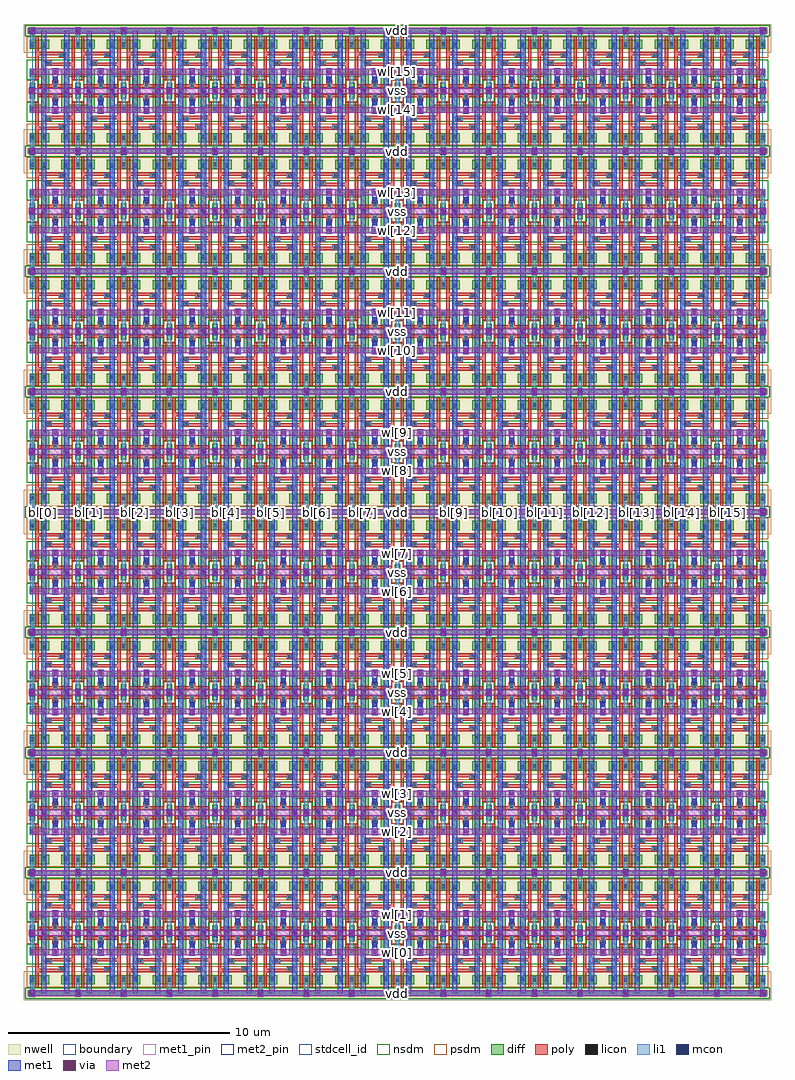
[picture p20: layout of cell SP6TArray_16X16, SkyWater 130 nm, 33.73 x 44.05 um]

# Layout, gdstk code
import gdstk
lib = gdstk.Library(unit=1e-6, precision=1e-09)
def R(c, l, rs):  # rectangles x0, y0, x1, y1
    for r in rs: c.add(gdstk.rectangle(r[:2], r[2:], *l))
def A(c, l, x, y, w, h, nx, ny, dx, dy):  # array of equal rectangles
    R(c, l, [(x+i*dx, y+j*dy, x+i*dx+w, y+j*dy+h) for i in range(nx) for j in range(ny)])
def P(c, l, *ps):  # polygons
    for p in ps: c.add(gdstk.Polygon(p, *l))
nwell = (64, 20)
diff = (65, 20)
poly = (66, 20)
licon = (66, 44)
li1 = (67, 20)
mcon = (67, 44)
met1_pin = (68, 16)
met1 = (68, 20)
via = (68, 44)
met2_pin = (69, 16)
met2 = (69, 20)
stdcell_id = (81, 4)
nsdm = (93, 44)
psdm = (94, 20)
boundary = (235, 4)

sp6tcell = lib.new_cell('SP6TCell')
R(sp6tcell, nwell, [(-0.385,1.72,2.445,3.02)])
R(sp6tcell, diff, [(-0.125,-0.36,0.125,0.36), (1.935,-0.36,2.185,0.36), (-0.125,1.9,0.755,2.32), (1.305,1.9,2.185,2.32), (-0.205,2.59,2.265,2.84)])
P(sp6tcell, diff, [(1.305,-0.125),(1.305,0.99),(2.185,0.99),(2.185,0.63),(1.665,0.63),(1.665,-0.125)],
  [(0.395,-0.125),(0.395,0.63),(-0.125,0.63),(-0.125,0.99),(0.755,0.99),(0.755,-0.125)])
P(sp6tcell, poly, [(1.77,0.5),(1.77,1.13),(0.55,1.13),(0.55,1.4),(0.88,1.4),(0.88,1.28),(1.77,1.28),(1.77,2.45),(1.92,2.45),(1.92,0.5)],
  [(0.14,0.5),(0.14,2.45),(0.29,2.45),(0.29,1.76),(1.51,1.76),(1.51,1.49),(1.18,1.49),(1.18,1.61),(0.29,1.61),(0.29,0.5)],
  [(0.265,0.14),(0.265,0.29),(0.895,0.29),(0.895,0.47),(1.165,0.47),(1.165,0.29),(1.795,0.29),(1.795,0.14)])
R(sp6tcell, licon, [(-0.085,-0.085,0.085,0.085), (0.49,-0.085,0.66,0.085), (1.4,-0.085,1.57,0.085), (1.975,-0.085,2.145,0.085), (0.945,0.22,1.115,0.39), (-0.085,0.725,0.085,0.895), (1.975,0.725,2.145,0.895), (0.465,0.78,0.635,0.95), (1.425,0.78,1.595,0.95), (0.63,1.18,0.8,1.35), (1.26,1.54,1.43,1.71), (0.465,1.97,0.635,2.14), (1.425,1.97,1.595,2.14), (-0.085,2.025,0.085,2.195), (1.975,2.025,2.145,2.195), (-0.085,2.63,0.085,2.8), (1.975,2.63,2.145,2.8)])
R(sp6tcell, li1, [(-0.085,-0.165,0.085,0.975), (1.975,-0.165,2.145,0.975), (0.945,0.14,1.115,0.64)])
P(sp6tcell, li1, [(0.465,0.7),(0.465,2.22),(0.635,2.22),(0.635,1.35),(0.88,1.35),(0.88,1.18),(0.635,1.18),(0.635,0.7)],
  [(1.425,0.7),(1.425,1.54),(1.18,1.54),(1.18,1.71),(1.425,1.71),(1.425,2.22),(1.595,2.22),(1.595,0.7)],
  [(-0.085,1.945),(-0.085,2.63),(-0.165,2.63),(-0.165,2.8),(2.225,2.8),(2.225,2.63),(2.145,2.63),(2.145,1.945),(1.975,1.945),(1.975,2.63),(0.085,2.63),(0.085,1.945)],
  [(0.49,-0.165),(0.49,-0.085),(0.43,-0.085),(0.43,0.085),(0.49,0.085),(0.49,0.165),(0.66,0.165),(0.66,-0.165)],
  [(1.4,-0.165),(1.4,0.165),(1.57,0.165),(1.57,0.085),(1.63,0.085),(1.63,-0.085),(1.57,-0.085),(1.57,-0.165)])
R(sp6tcell, mcon, [(-0.085,-0.085,0.085,0.085), (0.43,-0.085,0.6,0.085), (1.46,-0.085,1.63,0.085), (1.975,-0.085,2.145,0.085), (0.945,0.47,1.115,0.64), (-0.085,2.63,0.085,2.8), (1.975,2.63,2.145,2.8)])
R(sp6tcell, met1_pin, [(0.4,-0.145,0.63,2.715), (1.43,-0.145,1.66,2.715)])
R(sp6tcell, met1, [(-0.13,-0.16,0.13,0.16), (1.93,-0.16,2.19,0.16), (0.4,-0.145,0.63,2.715), (1.43,-0.145,1.66,2.715), (-0.13,2.555,0.13,2.875), (1.93,2.555,2.19,2.875)])
P(sp6tcell, met1, [(0.915,0.41),(0.915,0.7),(0.9,0.7),(0.9,1.02),(1.16,1.02),(1.16,0.7),(1.145,0.7),(1.145,0.41)])
R(sp6tcell, via, [(-0.075,-0.075,0.075,0.075), (1.985,-0.075,2.135,0.075), (0.955,0.785,1.105,0.935), (-0.075,2.64,0.075,2.79), (1.985,2.64,2.135,2.79)])
R(sp6tcell, met2_pin, [(-0.16,-0.13,2.22,0.13), (0,0.73,2.06,0.99), (-0.16,2.585,2.22,2.845)])
R(sp6tcell, met2, [(-0.16,-0.13,2.22,0.13), (0,0.73,2.06,0.99), (-0.16,2.585,2.22,2.845)])
R(sp6tcell, stdcell_id, [(0.39,0.135,0.76,0.295), (1.3,0.135,1.67,0.295), (0.135,0.625,0.295,0.995), (1.765,0.625,1.925,0.995)])
R(sp6tcell, nsdm, [(-0.33,2.465,2.39,2.965)])
P(sp6tcell, nsdm, [(0.27,-0.25),(0.27,0.505),(-0.25,0.505),(-0.25,1.4),(2.31,1.4),(2.31,0.505),(1.79,0.505),(1.79,-0.25)])
R(sp6tcell, psdm, [(-0.25,-0.485,0.25,0.485), (1.81,-0.485,2.31,0.485), (-0.25,1.49,2.31,2.445)])
R(sp6tcell, boundary, [(0,0,2.06,2.715)])
sp6tcell.add(gdstk.Label('vss', (1.03,0), layer=69, texttype=16))
sp6tcell.add(gdstk.Label('vdd', (1.03,2.715), layer=69, texttype=16))
sp6tcell.add(gdstk.Label('wl', (1.03,0.86), layer=69, texttype=16))
sp6tcell.add(gdstk.Label('bl', (0.515,1.285), layer=68, texttype=16))
sp6tcell.add(gdstk.Label('bl_n', (1.545,1.285), layer=68, texttype=16))

sp6tarray_2x1 = lib.new_cell('SP6TArray_2X1')
R(sp6tarray_2x1, met1_pin, [(0.4,0,0.63,5.43), (1.43,0,1.66,5.43)])
R(sp6tarray_2x1, met1, [(0.4,0,0.63,5.43), (1.43,0,1.66,5.43)])
A(sp6tarray_2x1, met2_pin, 0, 1.725, 2.06, 0.26, 1, 3, 0, 0.86)
R(sp6tarray_2x1, met2_pin, [(0,-0.13,2.06,0.13), (0,5.3,2.06,5.56)])
A(sp6tarray_2x1, met2, 0, 1.725, 2.06, 0.26, 1, 3, 0, 0.86)
R(sp6tarray_2x1, met2, [(0,-0.13,2.06,0.13), (0,5.3,2.06,5.56)])
R(sp6tarray_2x1, boundary, [(0,0,2.06,5.43)])
sp6tarray_2x1.add(gdstk.Reference(sp6tcell, (0,2.715), x_reflection=True))
sp6tarray_2x1.add(gdstk.Reference(sp6tcell, (0,2.715)))
sp6tarray_2x1.add(gdstk.Label('vss', (1.03,2.715), layer=69, texttype=16))
sp6tarray_2x1.add(gdstk.Label('vdd', (1.03,0), layer=69, texttype=16))
sp6tarray_2x1.add(gdstk.Label('vdd', (1.03,5.43), layer=69, texttype=16))
sp6tarray_2x1.add(gdstk.Label('wl[0]', (1.03,1.855), layer=69, texttype=16))
sp6tarray_2x1.add(gdstk.Label('wl[1]', (1.03,3.575), layer=69, texttype=16))
sp6tarray_2x1.add(gdstk.Label('bl[0]', (0.515,2.715), layer=68, texttype=16))
sp6tarray_2x1.add(gdstk.Label('bl_n[0]', (1.545,2.715), layer=68, texttype=16))

sp6tarray_2x2 = lib.new_cell('SP6TArray_2X2')
A(sp6tarray_2x2, met1_pin, 0.4, 0, 0.23, 5.43, 4, 1, 1.03, 0)
A(sp6tarray_2x2, met1, 0.4, 0, 0.23, 5.43, 4, 1, 1.03, 0)
A(sp6tarray_2x2, met2_pin, 0, 1.725, 4.12, 0.26, 1, 3, 0, 0.86)
R(sp6tarray_2x2, met2_pin, [(0,-0.13,4.12,0.13), (0,5.3,4.12,5.56)])
A(sp6tarray_2x2, met2, 0, 1.725, 4.12, 0.26, 1, 3, 0, 0.86)
R(sp6tarray_2x2, met2, [(0,-0.13,4.12,0.13), (0,5.3,4.12,5.56)])
R(sp6tarray_2x2, boundary, [(0,0,4.12,5.43)])
sp6tarray_2x2.add(gdstk.Reference(sp6tarray_2x1, (0,0)))
sp6tarray_2x2.add(gdstk.Reference(sp6tarray_2x1, (2.06,0)))
sp6tarray_2x2.add(gdstk.Label('vss', (2.06,2.715), layer=69, texttype=16))
sp6tarray_2x2.add(gdstk.Label('vdd', (2.06,5.43), layer=69, texttype=16))
sp6tarray_2x2.add(gdstk.Label('vdd', (2.06,0), layer=69, texttype=16))
sp6tarray_2x2.add(gdstk.Label('wl[0]', (2.06,1.855), layer=69, texttype=16))
sp6tarray_2x2.add(gdstk.Label('wl[1]', (2.06,3.575), layer=69, texttype=16))
sp6tarray_2x2.add(gdstk.Label('bl[0]', (0.515,2.715), layer=68, texttype=16))
sp6tarray_2x2.add(gdstk.Label('bl_n[0]', (1.545,2.715), layer=68, texttype=16))
sp6tarray_2x2.add(gdstk.Label('bl[1]', (2.575,2.715), layer=68, texttype=16))
sp6tarray_2x2.add(gdstk.Label('bl_n[1]', (3.605,2.715), layer=68, texttype=16))

sp6tarray_4x2 = lib.new_cell('SP6TArray_4X2')
A(sp6tarray_4x2, met1_pin, 0.4, 0, 0.23, 10.86, 4, 1, 1.03, 0)
A(sp6tarray_4x2, met1, 0.4, 0, 0.23, 10.86, 4, 1, 1.03, 0)
A(sp6tarray_4x2, met2_pin, 0, 1.725, 4.12, 0.26, 1, 3, 0, 0.86)
A(sp6tarray_4x2, met2_pin, 0, 7.155, 4.12, 0.26, 1, 3, 0, 0.86)
R(sp6tarray_4x2, met2_pin, [(0,-0.13,4.12,0.13), (0,5.3,4.12,5.56), (0,10.73,4.12,10.99)])
A(sp6tarray_4x2, met2, 0, 1.725, 4.12, 0.26, 1, 3, 0, 0.86)
A(sp6tarray_4x2, met2, 0, 7.155, 4.12, 0.26, 1, 3, 0, 0.86)
R(sp6tarray_4x2, met2, [(0,-0.13,4.12,0.13), (0,5.3,4.12,5.56), (0,10.73,4.12,10.99)])
R(sp6tarray_4x2, boundary, [(0,0,4.12,10.86)])
sp6tarray_4x2.add(gdstk.Reference(sp6tarray_2x2, (0,0)))
sp6tarray_4x2.add(gdstk.Reference(sp6tarray_2x2, (0,5.43)))
sp6tarray_4x2.add(gdstk.Label('vss', (2.06,8.145), layer=69, texttype=16))
sp6tarray_4x2.add(gdstk.Label('vss', (2.06,2.715), layer=69, texttype=16))
sp6tarray_4x2.add(gdstk.Label('vdd', (2.06,5.43), layer=69, texttype=16))
sp6tarray_4x2.add(gdstk.Label('vdd', (2.06,10.86), layer=69, texttype=16))
sp6tarray_4x2.add(gdstk.Label('vdd', (2.06,0), layer=69, texttype=16))
sp6tarray_4x2.add(gdstk.Label('wl[0]', (2.06,1.855), layer=69, texttype=16))
sp6tarray_4x2.add(gdstk.Label('wl[1]', (2.06,3.575), layer=69, texttype=16))
sp6tarray_4x2.add(gdstk.Label('wl[2]', (2.06,7.285), layer=69, texttype=16))
sp6tarray_4x2.add(gdstk.Label('wl[3]', (2.06,9.005), layer=69, texttype=16))
sp6tarray_4x2.add(gdstk.Label('bl[0]', (0.515,5.43), layer=68, texttype=16))
sp6tarray_4x2.add(gdstk.Label('bl_n[0]', (1.545,5.43), layer=68, texttype=16))
sp6tarray_4x2.add(gdstk.Label('bl[1]', (2.575,5.43), layer=68, texttype=16))
sp6tarray_4x2.add(gdstk.Label('bl_n[1]', (3.605,5.43), layer=68, texttype=16))

sp6tarray_4x4 = lib.new_cell('SP6TArray_4X4')
A(sp6tarray_4x4, met1_pin, 0.4, 0, 0.23, 10.86, 8, 1, 1.03, 0)
A(sp6tarray_4x4, met1, 0.4, 0, 0.23, 10.86, 8, 1, 1.03, 0)
A(sp6tarray_4x4, met2_pin, 0, 1.725, 8.24, 0.26, 1, 3, 0, 0.86)
A(sp6tarray_4x4, met2_pin, 0, 7.155, 8.24, 0.26, 1, 3, 0, 0.86)
R(sp6tarray_4x4, met2_pin, [(0,-0.13,8.24,0.13), (0,5.3,8.24,5.56), (0,10.73,8.24,10.99)])
A(sp6tarray_4x4, met2, 0, 1.725, 8.24, 0.26, 1, 3, 0, 0.86)
A(sp6tarray_4x4, met2, 0, 7.155, 8.24, 0.26, 1, 3, 0, 0.86)
R(sp6tarray_4x4, met2, [(0,-0.13,8.24,0.13), (0,5.3,8.24,5.56), (0,10.73,8.24,10.99)])
R(sp6tarray_4x4, boundary, [(0,0,8.24,10.86)])
sp6tarray_4x4.add(gdstk.Reference(sp6tarray_4x2, (0,0)))
sp6tarray_4x4.add(gdstk.Reference(sp6tarray_4x2, (4.12,0)))
sp6tarray_4x4.add(gdstk.Label('vss', (4.12,8.145), layer=69, texttype=16))
sp6tarray_4x4.add(gdstk.Label('vss', (4.12,2.715), layer=69, texttype=16))
sp6tarray_4x4.add(gdstk.Label('vdd', (4.12,0), layer=69, texttype=16))
sp6tarray_4x4.add(gdstk.Label('vdd', (4.12,10.86), layer=69, texttype=16))
sp6tarray_4x4.add(gdstk.Label('vdd', (4.12,5.43), layer=69, texttype=16))
sp6tarray_4x4.add(gdstk.Label('wl[0]', (4.12,1.855), layer=69, texttype=16))
sp6tarray_4x4.add(gdstk.Label('wl[1]', (4.12,3.575), layer=69, texttype=16))
sp6tarray_4x4.add(gdstk.Label('wl[2]', (4.12,7.285), layer=69, texttype=16))
sp6tarray_4x4.add(gdstk.Label('wl[3]', (4.12,9.005), layer=69, texttype=16))
sp6tarray_4x4.add(gdstk.Label('bl[0]', (0.515,5.43), layer=68, texttype=16))
sp6tarray_4x4.add(gdstk.Label('bl_n[0]', (1.545,5.43), layer=68, texttype=16))
sp6tarray_4x4.add(gdstk.Label('bl[1]', (2.575,5.43), layer=68, texttype=16))
sp6tarray_4x4.add(gdstk.Label('bl_n[1]', (3.605,5.43), layer=68, texttype=16))
sp6tarray_4x4.add(gdstk.Label('bl[2]', (4.635,5.43), layer=68, texttype=16))
sp6tarray_4x4.add(gdstk.Label('bl_n[2]', (5.665,5.43), layer=68, texttype=16))
sp6tarray_4x4.add(gdstk.Label('bl[3]', (6.695,5.43), layer=68, texttype=16))
sp6tarray_4x4.add(gdstk.Label('bl_n[3]', (7.725,5.43), layer=68, texttype=16))

sp6tarray_8x4 = lib.new_cell('SP6TArray_8X4')
A(sp6tarray_8x4, met1_pin, 0.4, 0, 0.23, 21.72, 8, 1, 1.03, 0)
A(sp6tarray_8x4, met1, 0.4, 0, 0.23, 21.72, 8, 1, 1.03, 0)
A(sp6tarray_8x4, met2_pin, 0, 1.725, 8.24, 0.26, 1, 3, 0, 0.86)
A(sp6tarray_8x4, met2_pin, 0, 7.155, 8.24, 0.26, 1, 3, 0, 0.86)
A(sp6tarray_8x4, met2_pin, 0, 12.585, 8.24, 0.26, 1, 3, 0, 0.86)
A(sp6tarray_8x4, met2_pin, 0, 18.015, 8.24, 0.26, 1, 3, 0, 0.86)
R(sp6tarray_8x4, met2_pin, [(0,-0.13,8.24,0.13), (0,5.3,8.24,5.56), (0,10.73,8.24,10.99), (0,16.16,8.24,16.42), (0,21.59,8.24,21.85)])
A(sp6tarray_8x4, met2, 0, 1.725, 8.24, 0.26, 1, 3, 0, 0.86)
A(sp6tarray_8x4, met2, 0, 7.155, 8.24, 0.26, 1, 3, 0, 0.86)
A(sp6tarray_8x4, met2, 0, 12.585, 8.24, 0.26, 1, 3, 0, 0.86)
A(sp6tarray_8x4, met2, 0, 18.015, 8.24, 0.26, 1, 3, 0, 0.86)
R(sp6tarray_8x4, met2, [(0,-0.13,8.24,0.13), (0,5.3,8.24,5.56), (0,10.73,8.24,10.99), (0,16.16,8.24,16.42), (0,21.59,8.24,21.85)])
R(sp6tarray_8x4, boundary, [(0,0,8.24,21.72)])
sp6tarray_8x4.add(gdstk.Reference(sp6tarray_4x4, (0,0)))
sp6tarray_8x4.add(gdstk.Reference(sp6tarray_4x4, (0,10.86)))
sp6tarray_8x4.add(gdstk.Label('vss', (4.12,8.145), layer=69, texttype=16))
sp6tarray_8x4.add(gdstk.Label('vss', (4.12,19.005), layer=69, texttype=16))
sp6tarray_8x4.add(gdstk.Label('vss', (4.12,2.715), layer=69, texttype=16))
sp6tarray_8x4.add(gdstk.Label('vss', (4.12,13.575), layer=69, texttype=16))
sp6tarray_8x4.add(gdstk.Label('vdd', (4.12,21.72), layer=69, texttype=16))
sp6tarray_8x4.add(gdstk.Label('vdd', (4.12,5.43), layer=69, texttype=16))
sp6tarray_8x4.add(gdstk.Label('vdd', (4.12,0), layer=69, texttype=16))
sp6tarray_8x4.add(gdstk.Label('vdd', (4.12,10.86), layer=69, texttype=16))
sp6tarray_8x4.add(gdstk.Label('vdd', (4.12,16.29), layer=69, texttype=16))
sp6tarray_8x4.add(gdstk.Label('wl[0]', (4.12,1.855), layer=69, texttype=16))
sp6tarray_8x4.add(gdstk.Label('wl[1]', (4.12,3.575), layer=69, texttype=16))
sp6tarray_8x4.add(gdstk.Label('wl[2]', (4.12,7.285), layer=69, texttype=16))
sp6tarray_8x4.add(gdstk.Label('wl[3]', (4.12,9.005), layer=69, texttype=16))
sp6tarray_8x4.add(gdstk.Label('wl[4]', (4.12,12.715), layer=69, texttype=16))
sp6tarray_8x4.add(gdstk.Label('wl[5]', (4.12,14.435), layer=69, texttype=16))
sp6tarray_8x4.add(gdstk.Label('wl[6]', (4.12,18.145), layer=69, texttype=16))
sp6tarray_8x4.add(gdstk.Label('wl[7]', (4.12,19.865), layer=69, texttype=16))
sp6tarray_8x4.add(gdstk.Label('bl[0]', (0.515,10.86), layer=68, texttype=16))
sp6tarray_8x4.add(gdstk.Label('bl_n[0]', (1.545,10.86), layer=68, texttype=16))
sp6tarray_8x4.add(gdstk.Label('bl[1]', (2.575,10.86), layer=68, texttype=16))
sp6tarray_8x4.add(gdstk.Label('bl_n[1]', (3.605,10.86), layer=68, texttype=16))
sp6tarray_8x4.add(gdstk.Label('bl[2]', (4.635,10.86), layer=68, texttype=16))
sp6tarray_8x4.add(gdstk.Label('bl_n[2]', (5.665,10.86), layer=68, texttype=16))
sp6tarray_8x4.add(gdstk.Label('bl[3]', (6.695,10.86), layer=68, texttype=16))
sp6tarray_8x4.add(gdstk.Label('bl_n[3]', (7.725,10.86), layer=68, texttype=16))

sp6tarray_8x8 = lib.new_cell('SP6TArray_8X8')
A(sp6tarray_8x8, met1_pin, 0.4, 0, 0.23, 21.72, 16, 1, 1.03, 0)
A(sp6tarray_8x8, met1, 0.4, 0, 0.23, 21.72, 16, 1, 1.03, 0)
A(sp6tarray_8x8, met2_pin, 0, 1.725, 16.48, 0.26, 1, 3, 0, 0.86)
A(sp6tarray_8x8, met2_pin, 0, 7.155, 16.48, 0.26, 1, 3, 0, 0.86)
A(sp6tarray_8x8, met2_pin, 0, 12.585, 16.48, 0.26, 1, 3, 0, 0.86)
A(sp6tarray_8x8, met2_pin, 0, 18.015, 16.48, 0.26, 1, 3, 0, 0.86)
R(sp6tarray_8x8, met2_pin, [(0,-0.13,16.48,0.13), (0,5.3,16.48,5.56), (0,10.73,16.48,10.99), (0,16.16,16.48,16.42), (0,21.59,16.48,21.85)])
A(sp6tarray_8x8, met2, 0, 1.725, 16.48, 0.26, 1, 3, 0, 0.86)
A(sp6tarray_8x8, met2, 0, 7.155, 16.48, 0.26, 1, 3, 0, 0.86)
A(sp6tarray_8x8, met2, 0, 12.585, 16.48, 0.26, 1, 3, 0, 0.86)
A(sp6tarray_8x8, met2, 0, 18.015, 16.48, 0.26, 1, 3, 0, 0.86)
R(sp6tarray_8x8, met2, [(0,-0.13,16.48,0.13), (0,5.3,16.48,5.56), (0,10.73,16.48,10.99), (0,16.16,16.48,16.42), (0,21.59,16.48,21.85)])
R(sp6tarray_8x8, boundary, [(0,0,16.48,21.72)])
sp6tarray_8x8.add(gdstk.Reference(sp6tarray_8x4, (0,0)))
sp6tarray_8x8.add(gdstk.Reference(sp6tarray_8x4, (8.24,0)))
sp6tarray_8x8.add(gdstk.Label('vss', (8.24,19.005), layer=69, texttype=16))
sp6tarray_8x8.add(gdstk.Label('vss', (8.24,2.715), layer=69, texttype=16))
sp6tarray_8x8.add(gdstk.Label('vss', (8.24,8.145), layer=69, texttype=16))
sp6tarray_8x8.add(gdstk.Label('vss', (8.24,13.575), layer=69, texttype=16))
sp6tarray_8x8.add(gdstk.Label('vdd', (8.24,16.29), layer=69, texttype=16))
sp6tarray_8x8.add(gdstk.Label('vdd', (8.24,0), layer=69, texttype=16))
sp6tarray_8x8.add(gdstk.Label('vdd', (8.24,21.72), layer=69, texttype=16))
sp6tarray_8x8.add(gdstk.Label('vdd', (8.24,5.43), layer=69, texttype=16))
sp6tarray_8x8.add(gdstk.Label('vdd', (8.24,10.86), layer=69, texttype=16))
sp6tarray_8x8.add(gdstk.Label('wl[0]', (8.24,1.855), layer=69, texttype=16))
sp6tarray_8x8.add(gdstk.Label('wl[1]', (8.24,3.575), layer=69, texttype=16))
sp6tarray_8x8.add(gdstk.Label('wl[2]', (8.24,7.285), layer=69, texttype=16))
sp6tarray_8x8.add(gdstk.Label('wl[3]', (8.24,9.005), layer=69, texttype=16))
sp6tarray_8x8.add(gdstk.Label('wl[4]', (8.24,12.715), layer=69, texttype=16))
sp6tarray_8x8.add(gdstk.Label('wl[5]', (8.24,14.435), layer=69, texttype=16))
sp6tarray_8x8.add(gdstk.Label('wl[6]', (8.24,18.145), layer=69, texttype=16))
sp6tarray_8x8.add(gdstk.Label('wl[7]', (8.24,19.865), layer=69, texttype=16))
sp6tarray_8x8.add(gdstk.Label('bl[0]', (0.515,10.86), layer=68, texttype=16))
sp6tarray_8x8.add(gdstk.Label('bl_n[0]', (1.545,10.86), layer=68, texttype=16))
sp6tarray_8x8.add(gdstk.Label('bl[1]', (2.575,10.86), layer=68, texttype=16))
sp6tarray_8x8.add(gdstk.Label('bl_n[1]', (3.605,10.86), layer=68, texttype=16))
sp6tarray_8x8.add(gdstk.Label('bl[2]', (4.635,10.86), layer=68, texttype=16))
sp6tarray_8x8.add(gdstk.Label('bl_n[2]', (5.665,10.86), layer=68, texttype=16))
sp6tarray_8x8.add(gdstk.Label('bl[3]', (6.695,10.86), layer=68, texttype=16))
sp6tarray_8x8.add(gdstk.Label('bl_n[3]', (7.725,10.86), layer=68, texttype=16))
sp6tarray_8x8.add(gdstk.Label('bl[4]', (8.755,10.86), layer=68, texttype=16))
sp6tarray_8x8.add(gdstk.Label('bl_n[4]', (9.785,10.86), layer=68, texttype=16))
sp6tarray_8x8.add(gdstk.Label('bl[5]', (10.815,10.86), layer=68, texttype=16))
sp6tarray_8x8.add(gdstk.Label('bl_n[5]', (11.845,10.86), layer=68, texttype=16))
sp6tarray_8x8.add(gdstk.Label('bl[6]', (12.875,10.86), layer=68, texttype=16))
sp6tarray_8x8.add(gdstk.Label('bl_n[6]', (13.905,10.86), layer=68, texttype=16))
sp6tarray_8x8.add(gdstk.Label('bl[7]', (14.935,10.86), layer=68, texttype=16))
sp6tarray_8x8.add(gdstk.Label('bl_n[7]', (15.965,10.86), layer=68, texttype=16))

sp6tarray_16x8 = lib.new_cell('SP6TArray_16X8')
A(sp6tarray_16x8, met1_pin, 0.4, 0, 0.23, 43.44, 16, 1, 1.03, 0)
A(sp6tarray_16x8, met1, 0.4, 0, 0.23, 43.44, 16, 1, 1.03, 0)
A(sp6tarray_16x8, met2_pin, 0, 1.725, 16.48, 0.26, 1, 3, 0, 0.86)
A(sp6tarray_16x8, met2_pin, 0, 7.155, 16.48, 0.26, 1, 3, 0, 0.86)
A(sp6tarray_16x8, met2_pin, 0, 12.585, 16.48, 0.26, 1, 3, 0, 0.86)
A(sp6tarray_16x8, met2_pin, 0, 18.015, 16.48, 0.26, 1, 3, 0, 0.86)
A(sp6tarray_16x8, met2_pin, 0, 23.445, 16.48, 0.26, 1, 3, 0, 0.86)
A(sp6tarray_16x8, met2_pin, 0, 28.875, 16.48, 0.26, 1, 3, 0, 0.86)
A(sp6tarray_16x8, met2_pin, 0, 34.305, 16.48, 0.26, 1, 3, 0, 0.86)
A(sp6tarray_16x8, met2_pin, 0, 39.735, 16.48, 0.26, 1, 3, 0, 0.86)
R(sp6tarray_16x8, met2_pin, [(0,-0.13,16.48,0.13), (0,5.3,16.48,5.56), (0,10.73,16.48,10.99), (0,16.16,16.48,16.42), (0,21.59,16.48,21.85), (0,27.02,16.48,27.28), (0,32.45,16.48,32.71), (0,37.88,16.48,38.14), (0,43.31,16.48,43.57)])
A(sp6tarray_16x8, met2, 0, 1.725, 16.48, 0.26, 1, 3, 0, 0.86)
A(sp6tarray_16x8, met2, 0, 7.155, 16.48, 0.26, 1, 3, 0, 0.86)
A(sp6tarray_16x8, met2, 0, 12.585, 16.48, 0.26, 1, 3, 0, 0.86)
A(sp6tarray_16x8, met2, 0, 18.015, 16.48, 0.26, 1, 3, 0, 0.86)
A(sp6tarray_16x8, met2, 0, 23.445, 16.48, 0.26, 1, 3, 0, 0.86)
A(sp6tarray_16x8, met2, 0, 28.875, 16.48, 0.26, 1, 3, 0, 0.86)
A(sp6tarray_16x8, met2, 0, 34.305, 16.48, 0.26, 1, 3, 0, 0.86)
A(sp6tarray_16x8, met2, 0, 39.735, 16.48, 0.26, 1, 3, 0, 0.86)
R(sp6tarray_16x8, met2, [(0,-0.13,16.48,0.13), (0,5.3,16.48,5.56), (0,10.73,16.48,10.99), (0,16.16,16.48,16.42), (0,21.59,16.48,21.85), (0,27.02,16.48,27.28), (0,32.45,16.48,32.71), (0,37.88,16.48,38.14), (0,43.31,16.48,43.57)])
R(sp6tarray_16x8, boundary, [(0,0,16.48,43.44)])
sp6tarray_16x8.add(gdstk.Reference(sp6tarray_8x8, (0,0)))
sp6tarray_16x8.add(gdstk.Reference(sp6tarray_8x8, (0,21.72)))
sp6tarray_16x8.add(gdstk.Label('vss', (8.24,19.005), layer=69, texttype=16))
sp6tarray_16x8.add(gdstk.Label('vss', (8.24,8.145), layer=69, texttype=16))
sp6tarray_16x8.add(gdstk.Label('vss', (8.24,24.435), layer=69, texttype=16))
sp6tarray_16x8.add(gdstk.Label('vss', (8.24,40.725), layer=69, texttype=16))
sp6tarray_16x8.add(gdstk.Label('vss', (8.24,2.715), layer=69, texttype=16))
sp6tarray_16x8.add(gdstk.Label('vss', (8.24,13.575), layer=69, texttype=16))
sp6tarray_16x8.add(gdstk.Label('vss', (8.24,29.865), layer=69, texttype=16))
sp6tarray_16x8.add(gdstk.Label('vss', (8.24,35.295), layer=69, texttype=16))
sp6tarray_16x8.add(gdstk.Label('vdd', (8.24,16.29), layer=69, texttype=16))
sp6tarray_16x8.add(gdstk.Label('vdd', (8.24,0), layer=69, texttype=16))
sp6tarray_16x8.add(gdstk.Label('vdd', (8.24,32.58), layer=69, texttype=16))
sp6tarray_16x8.add(gdstk.Label('vdd', (8.24,21.72), layer=69, texttype=16))
sp6tarray_16x8.add(gdstk.Label('vdd', (8.24,5.43), layer=69, texttype=16))
sp6tarray_16x8.add(gdstk.Label('vdd', (8.24,27.15), layer=69, texttype=16))
sp6tarray_16x8.add(gdstk.Label('vdd', (8.24,43.44), layer=69, texttype=16))
sp6tarray_16x8.add(gdstk.Label('vdd', (8.24,38.01), layer=69, texttype=16))
sp6tarray_16x8.add(gdstk.Label('vdd', (8.24,10.86), layer=69, texttype=16))
sp6tarray_16x8.add(gdstk.Label('wl[0]', (8.24,1.855), layer=69, texttype=16))
sp6tarray_16x8.add(gdstk.Label('wl[1]', (8.24,3.575), layer=69, texttype=16))
sp6tarray_16x8.add(gdstk.Label('wl[2]', (8.24,7.285), layer=69, texttype=16))
sp6tarray_16x8.add(gdstk.Label('wl[3]', (8.24,9.005), layer=69, texttype=16))
sp6tarray_16x8.add(gdstk.Label('wl[4]', (8.24,12.715), layer=69, texttype=16))
sp6tarray_16x8.add(gdstk.Label('wl[5]', (8.24,14.435), layer=69, texttype=16))
sp6tarray_16x8.add(gdstk.Label('wl[6]', (8.24,18.145), layer=69, texttype=16))
sp6tarray_16x8.add(gdstk.Label('wl[7]', (8.24,19.865), layer=69, texttype=16))
sp6tarray_16x8.add(gdstk.Label('wl[8]', (8.24,23.575), layer=69, texttype=16))
sp6tarray_16x8.add(gdstk.Label('wl[9]', (8.24,25.295), layer=69, texttype=16))
sp6tarray_16x8.add(gdstk.Label('wl[10]', (8.24,29.005), layer=69, texttype=16))
sp6tarray_16x8.add(gdstk.Label('wl[11]', (8.24,30.725), layer=69, texttype=16))
sp6tarray_16x8.add(gdstk.Label('wl[12]', (8.24,34.435), layer=69, texttype=16))
sp6tarray_16x8.add(gdstk.Label('wl[13]', (8.24,36.155), layer=69, texttype=16))
sp6tarray_16x8.add(gdstk.Label('wl[14]', (8.24,39.865), layer=69, texttype=16))
sp6tarray_16x8.add(gdstk.Label('wl[15]', (8.24,41.585), layer=69, texttype=16))
sp6tarray_16x8.add(gdstk.Label('bl[0]', (0.515,21.72), layer=68, texttype=16))
sp6tarray_16x8.add(gdstk.Label('bl_n[0]', (1.545,21.72), layer=68, texttype=16))
sp6tarray_16x8.add(gdstk.Label('bl[1]', (2.575,21.72), layer=68, texttype=16))
sp6tarray_16x8.add(gdstk.Label('bl_n[1]', (3.605,21.72), layer=68, texttype=16))
sp6tarray_16x8.add(gdstk.Label('bl[2]', (4.635,21.72), layer=68, texttype=16))
sp6tarray_16x8.add(gdstk.Label('bl_n[2]', (5.665,21.72), layer=68, texttype=16))
sp6tarray_16x8.add(gdstk.Label('bl[3]', (6.695,21.72), layer=68, texttype=16))
sp6tarray_16x8.add(gdstk.Label('bl_n[3]', (7.725,21.72), layer=68, texttype=16))
sp6tarray_16x8.add(gdstk.Label('bl[4]', (8.755,21.72), layer=68, texttype=16))
sp6tarray_16x8.add(gdstk.Label('bl_n[4]', (9.785,21.72), layer=68, texttype=16))
sp6tarray_16x8.add(gdstk.Label('bl[5]', (10.815,21.72), layer=68, texttype=16))
sp6tarray_16x8.add(gdstk.Label('bl_n[5]', (11.845,21.72), layer=68, texttype=16))
sp6tarray_16x8.add(gdstk.Label('bl[6]', (12.875,21.72), layer=68, texttype=16))
sp6tarray_16x8.add(gdstk.Label('bl_n[6]', (13.905,21.72), layer=68, texttype=16))
sp6tarray_16x8.add(gdstk.Label('bl[7]', (14.935,21.72), layer=68, texttype=16))
sp6tarray_16x8.add(gdstk.Label('bl_n[7]', (15.965,21.72), layer=68, texttype=16))

sp6tarray_16x16 = lib.new_cell('SP6TArray_16X16')
A(sp6tarray_16x16, met1_pin, 0.4, 0, 0.23, 43.44, 32, 1, 1.03, 0)
A(sp6tarray_16x16, met1, 0.4, 0, 0.23, 43.44, 32, 1, 1.03, 0)
A(sp6tarray_16x16, met2_pin, 0, 1.725, 32.96, 0.26, 1, 3, 0, 0.86)
A(sp6tarray_16x16, met2_pin, 0, 7.155, 32.96, 0.26, 1, 3, 0, 0.86)
A(sp6tarray_16x16, met2_pin, 0, 12.585, 32.96, 0.26, 1, 3, 0, 0.86)
A(sp6tarray_16x16, met2_pin, 0, 18.015, 32.96, 0.26, 1, 3, 0, 0.86)
A(sp6tarray_16x16, met2_pin, 0, 23.445, 32.96, 0.26, 1, 3, 0, 0.86)
A(sp6tarray_16x16, met2_pin, 0, 28.875, 32.96, 0.26, 1, 3, 0, 0.86)
A(sp6tarray_16x16, met2_pin, 0, 34.305, 32.96, 0.26, 1, 3, 0, 0.86)
A(sp6tarray_16x16, met2_pin, 0, 39.735, 32.96, 0.26, 1, 3, 0, 0.86)
R(sp6tarray_16x16, met2_pin, [(0,-0.13,32.96,0.13), (0,5.3,32.96,5.56), (0,10.73,32.96,10.99), (0,16.16,32.96,16.42), (0,21.59,32.96,21.85), (0,27.02,32.96,27.28), (0,32.45,32.96,32.71), (0,37.88,32.96,38.14), (0,43.31,32.96,43.57)])
A(sp6tarray_16x16, met2, 0, 1.725, 32.96, 0.26, 1, 3, 0, 0.86)
A(sp6tarray_16x16, met2, 0, 7.155, 32.96, 0.26, 1, 3, 0, 0.86)
A(sp6tarray_16x16, met2, 0, 12.585, 32.96, 0.26, 1, 3, 0, 0.86)
A(sp6tarray_16x16, met2, 0, 18.015, 32.96, 0.26, 1, 3, 0, 0.86)
A(sp6tarray_16x16, met2, 0, 23.445, 32.96, 0.26, 1, 3, 0, 0.86)
A(sp6tarray_16x16, met2, 0, 28.875, 32.96, 0.26, 1, 3, 0, 0.86)
A(sp6tarray_16x16, met2, 0, 34.305, 32.96, 0.26, 1, 3, 0, 0.86)
A(sp6tarray_16x16, met2, 0, 39.735, 32.96, 0.26, 1, 3, 0, 0.86)
R(sp6tarray_16x16, met2, [(0,-0.13,32.96,0.13), (0,5.3,32.96,5.56), (0,10.73,32.96,10.99), (0,16.16,32.96,16.42), (0,21.59,32.96,21.85), (0,27.02,32.96,27.28), (0,32.45,32.96,32.71), (0,37.88,32.96,38.14), (0,43.31,32.96,43.57)])
R(sp6tarray_16x16, boundary, [(0,0,32.96,43.44)])
sp6tarray_16x16.add(gdstk.Reference(sp6tarray_16x8, (0,0)))
sp6tarray_16x16.add(gdstk.Reference(sp6tarray_16x8, (16.48,0)))
sp6tarray_16x16.add(gdstk.Label('vss', (16.48,29.865), layer=69, texttype=16))
sp6tarray_16x16.add(gdstk.Label('vss', (16.48,35.295), layer=69, texttype=16))
sp6tarray_16x16.add(gdstk.Label('vss', (16.48,19.005), layer=69, texttype=16))
sp6tarray_16x16.add(gdstk.Label('vss', (16.48,8.145), layer=69, texttype=16))
sp6tarray_16x16.add(gdstk.Label('vss', (16.48,24.435), layer=69, texttype=16))
sp6tarray_16x16.add(gdstk.Label('vss', (16.48,40.725), layer=69, texttype=16))
sp6tarray_16x16.add(gdstk.Label('vss', (16.48,2.715), layer=69, texttype=16))
sp6tarray_16x16.add(gdstk.Label('vss', (16.48,13.575), layer=69, texttype=16))
sp6tarray_16x16.add(gdstk.Label('vdd', (16.48,43.44), layer=69, texttype=16))
sp6tarray_16x16.add(gdstk.Label('vdd', (16.48,27.15), layer=69, texttype=16))
sp6tarray_16x16.add(gdstk.Label('vdd', (16.48,38.01), layer=69, texttype=16))
sp6tarray_16x16.add(gdstk.Label('vdd', (16.48,5.43), layer=69, texttype=16))
sp6tarray_16x16.add(gdstk.Label('vdd', (16.48,10.86), layer=69, texttype=16))
sp6tarray_16x16.add(gdstk.Label('vdd', (16.48,0), layer=69, texttype=16))
sp6tarray_16x16.add(gdstk.Label('vdd', (16.48,16.29), layer=69, texttype=16))
sp6tarray_16x16.add(gdstk.Label('vdd', (16.48,32.58), layer=69, texttype=16))
sp6tarray_16x16.add(gdstk.Label('vdd', (16.48,21.72), layer=69, texttype=16))
sp6tarray_16x16.add(gdstk.Label('wl[0]', (16.48,1.855), layer=69, texttype=16))
sp6tarray_16x16.add(gdstk.Label('wl[1]', (16.48,3.575), layer=69, texttype=16))
sp6tarray_16x16.add(gdstk.Label('wl[2]', (16.48,7.285), layer=69, texttype=16))
sp6tarray_16x16.add(gdstk.Label('wl[3]', (16.48,9.005), layer=69, texttype=16))
sp6tarray_16x16.add(gdstk.Label('wl[4]', (16.48,12.715), layer=69, texttype=16))
sp6tarray_16x16.add(gdstk.Label('wl[5]', (16.48,14.435), layer=69, texttype=16))
sp6tarray_16x16.add(gdstk.Label('wl[6]', (16.48,18.145), layer=69, texttype=16))
sp6tarray_16x16.add(gdstk.Label('wl[7]', (16.48,19.865), layer=69, texttype=16))
sp6tarray_16x16.add(gdstk.Label('wl[8]', (16.48,23.575), layer=69, texttype=16))
sp6tarray_16x16.add(gdstk.Label('wl[9]', (16.48,25.295), layer=69, texttype=16))
sp6tarray_16x16.add(gdstk.Label('wl[10]', (16.48,29.005), layer=69, texttype=16))
sp6tarray_16x16.add(gdstk.Label('wl[11]', (16.48,30.725), layer=69, texttype=16))
sp6tarray_16x16.add(gdstk.Label('wl[12]', (16.48,34.435), layer=69, texttype=16))
sp6tarray_16x16.add(gdstk.Label('wl[13]', (16.48,36.155), layer=69, texttype=16))
sp6tarray_16x16.add(gdstk.Label('wl[14]', (16.48,39.865), layer=69, texttype=16))
sp6tarray_16x16.add(gdstk.Label('wl[15]', (16.48,41.585), layer=69, texttype=16))
sp6tarray_16x16.add(gdstk.Label('bl[0]', (0.515,21.72), layer=68, texttype=16))
sp6tarray_16x16.add(gdstk.Label('bl_n[0]', (1.545,21.72), layer=68, texttype=16))
sp6tarray_16x16.add(gdstk.Label('bl[1]', (2.575,21.72), layer=68, texttype=16))
sp6tarray_16x16.add(gdstk.Label('bl_n[1]', (3.605,21.72), layer=68, texttype=16))
sp6tarray_16x16.add(gdstk.Label('bl[2]', (4.635,21.72), layer=68, texttype=16))
sp6tarray_16x16.add(gdstk.Label('bl_n[2]', (5.665,21.72), layer=68, texttype=16))
sp6tarray_16x16.add(gdstk.Label('bl[3]', (6.695,21.72), layer=68, texttype=16))
sp6tarray_16x16.add(gdstk.Label('bl_n[3]', (7.725,21.72), layer=68, texttype=16))
sp6tarray_16x16.add(gdstk.Label('bl[4]', (8.755,21.72), layer=68, texttype=16))
sp6tarray_16x16.add(gdstk.Label('bl_n[4]', (9.785,21.72), layer=68, texttype=16))
sp6tarray_16x16.add(gdstk.Label('bl[5]', (10.815,21.72), layer=68, texttype=16))
sp6tarray_16x16.add(gdstk.Label('bl_n[5]', (11.845,21.72), layer=68, texttype=16))
sp6tarray_16x16.add(gdstk.Label('bl[6]', (12.875,21.72), layer=68, texttype=16))
sp6tarray_16x16.add(gdstk.Label('bl_n[6]', (13.905,21.72), layer=68, texttype=16))
sp6tarray_16x16.add(gdstk.Label('bl[7]', (14.935,21.72), layer=68, texttype=16))
sp6tarray_16x16.add(gdstk.Label('bl_n[7]', (15.965,21.72), layer=68, texttype=16))
sp6tarray_16x16.add(gdstk.Label('bl[8]', (16.995,21.72), layer=68, texttype=16))
sp6tarray_16x16.add(gdstk.Label('bl_n[8]', (18.025,21.72), layer=68, texttype=16))
sp6tarray_16x16.add(gdstk.Label('bl[9]', (19.055,21.72), layer=68, texttype=16))
sp6tarray_16x16.add(gdstk.Label('bl_n[9]', (20.085,21.72), layer=68, texttype=16))
sp6tarray_16x16.add(gdstk.Label('bl[10]', (21.115,21.72), layer=68, texttype=16))
sp6tarray_16x16.add(gdstk.Label('bl_n[10]', (22.145,21.72), layer=68, texttype=16))
sp6tarray_16x16.add(gdstk.Label('bl[11]', (23.175,21.72), layer=68, texttype=16))
sp6tarray_16x16.add(gdstk.Label('bl_n[11]', (24.205,21.72), layer=68, texttype=16))
sp6tarray_16x16.add(gdstk.Label('bl[12]', (25.235,21.72), layer=68, texttype=16))
sp6tarray_16x16.add(gdstk.Label('bl_n[12]', (26.265,21.72), layer=68, texttype=16))
sp6tarray_16x16.add(gdstk.Label('bl[13]', (27.295,21.72), layer=68, texttype=16))
sp6tarray_16x16.add(gdstk.Label('bl_n[13]', (28.325,21.72), layer=68, texttype=16))
sp6tarray_16x16.add(gdstk.Label('bl[14]', (29.355,21.72), layer=68, texttype=16))
sp6tarray_16x16.add(gdstk.Label('bl_n[14]', (30.385,21.72), layer=68, texttype=16))
sp6tarray_16x16.add(gdstk.Label('bl[15]', (31.415,21.72), layer=68, texttype=16))
sp6tarray_16x16.add(gdstk.Label('bl_n[15]', (32.445,21.72), layer=68, texttype=16))

lib.write_gds('SP6TArray_16X16.gds')
